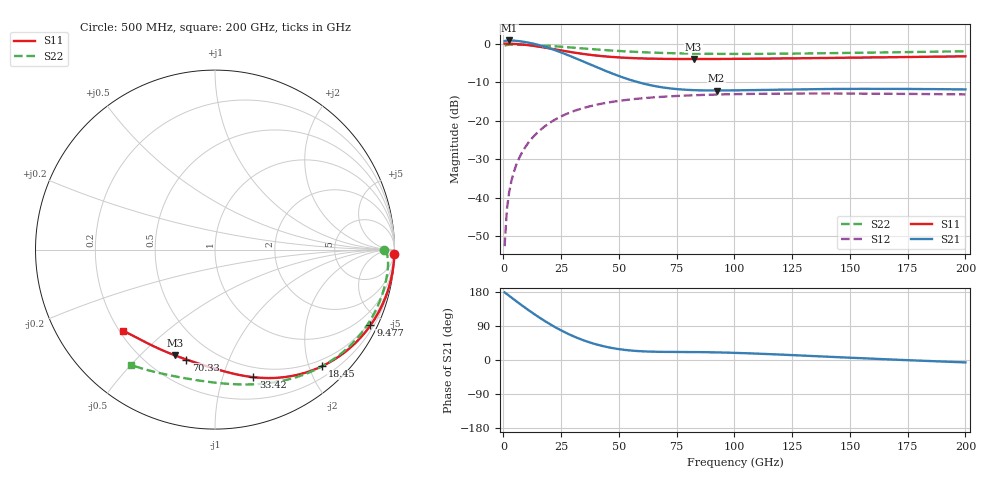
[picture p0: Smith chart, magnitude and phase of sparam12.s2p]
!2-port S-parameter file
!Title: **.subckt s_param_testbench_lna
!Generated by ngspice at Wed Oct 26 01:08:22  2022
# Hz S RI R 50
!freq  ReS11  ImS11  ReS21  ImS21  ReS12  ImS12  ReS22  ImS22
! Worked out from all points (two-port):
!   201 points, 500 MHz to 200 GHz, reference 50 ohm
!   highest |S21| = 0.82 dB at 2.495 GHz (marker M1); lowest = -12.2 dB at 92.27 GHz (marker M2)
!   |S21| within 3 dB of the highest: start of sweep to 24.49 GHz
!   lowest |S11| = -4.0 dB at 82.3 GHz (marker M3), VSWR 4.41, Z = 16.3 - j31.9 ohm
!   |S11| at or under -10 dB: nowhere
!   |S22| runs from -2.7 to -0.3 dB; largest |S21 - S12| = 1.1
!   S11 on the Smith chart (normalised r, x): 500 MHz: 0, -82; 9.477 GHz: 0.36, -4.31; 18.45 GHz: 0.38, -2.22; 33.42 GHz: 0.40, -1.26; 70.33 GHz: 0.35, -0.71; 200 GHz: 0.21, -0.36
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5e8  0.9996 -0.0245  -1.08 0.0316  2.01e-06 0.00235  0.9443 -0.00244
1.4975e9  0.9963 -0.0732  -1.089 0.1148  0.000103 0.00711  0.9586 -0.0251
2.495e9  0.9898 -0.1214  -1.079 0.205  0.000411 0.0119  0.9641 -0.0561
3.4925e9  0.9803 -0.1688  -1.057 0.2921  0.00092 0.0167  0.9643 -0.087
5.4875e9  0.9524 -0.2601  -0.9871 0.4529  0.0025 0.0262  0.9578 -0.146
9.4775e9  0.8663 -0.4221  -0.7717 0.7068  0.00786 0.0448  0.9294 -0.2565
1.34675e10  0.7522 -0.5479  -0.5019 0.8518  0.0161 0.0622  0.8856 -0.3577
1.8455e10  0.5951 -0.6504  -0.1678 0.8828  0.0302 0.0814  0.8136 -0.4678
2.54375e10  0.3912 -0.7099  0.1751 0.7379  0.0549 0.1015  0.6938 -0.5863
2.94275e10  0.2944 -0.7158  0.2877 0.6155  0.0702 0.109  0.6221 -0.6355
3.34175e10  0.2131 -0.7108  0.3489 0.4949  0.0855 0.1139  0.5516 -0.673
3.4415e10  0.1949 -0.7086  0.3578 0.4667  0.0893 0.1147  0.5344 -0.6807
4.13975e10  0.0885 -0.688  0.3716 0.3029  0.1144 0.1168  0.4208 -0.7202
4.838e10  0.0085 -0.6663  0.3419 0.1989  0.1365 0.114  0.3209 -0.7407
6.73325e10  -0.1414 -0.6186  0.2556 0.101  0.1799 0.0938  0.1131 -0.7502
7.0325e10  -0.1598 -0.6123  0.248 0.097  0.1848 0.0898  0.0869 -0.7489
8.2295e10  -0.2246 -0.5888  0.2324 0.0891  0.2006 0.0736  -0.00459 -0.7407
9.227e10  -0.2695 -0.5709  0.2311 0.0847  0.2098 0.0601  -0.0685 -0.7325
1.0025e11  -0.3007 -0.5574  0.234 0.08  0.2151 0.0498  -0.1136 -0.7257
1.34165e11  -0.4002 -0.5094  0.2523 0.0464  0.2247 0.0112  -0.2666 -0.6973
1.670825e11  -0.4649 -0.4757  0.2585 0.00677  0.2226 -0.0179  -0.3786 -0.6704
2e11  -0.5133 -0.4515  0.2529 -0.0281  0.2153 -0.0404  -0.4684 -0.6426
